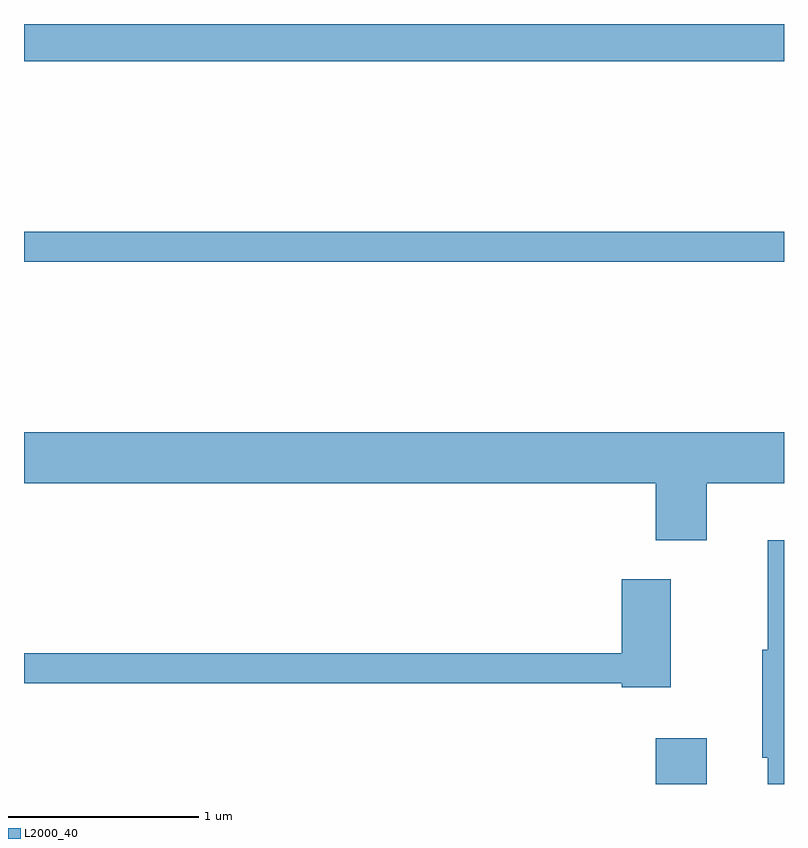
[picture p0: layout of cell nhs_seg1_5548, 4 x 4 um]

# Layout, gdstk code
import gdstk
lib = gdstk.Library(unit=1e-6, precision=1e-09)
def R(c, l, rs):  # rectangles x0, y0, x1, y1
    for r in rs: c.add(gdstk.rectangle(r[:2], r[2:], *l))
def P(c, l, *ps):  # polygons
    for p in ps: c.add(gdstk.Polygon(p, *l))
L2000_40 = (2000, 40)

nhs_seg1_5548 = lib.new_cell('nhs_seg1_5548')
R(nhs_seg1_5548, L2000_40, [(354.936,955.712,355.204,955.954), (351.611,958.461,355.611,958.619), (351.611,959.516,355.611,959.712)])
P(nhs_seg1_5548, L2000_40, [(355.204,957.296),(355.611,957.296),(355.611,957.564),(351.611,957.564),(351.611,957.296),(354.936,957.296),(354.936,956.996),(355.204,956.996)],
  [(355.611,956.994),(355.526,956.994),(355.526,956.419),(355.496,956.419),(355.496,955.851),(355.526,955.851),(355.526,955.712),(355.611,955.712)],
  [(355.014,956.789),(354.756,956.789),(354.756,956.399),(351.611,956.399),(351.611,956.241),(354.756,956.241),(354.756,956.221),(355.014,956.221)])

lib.write_gds('nhs_seg1_5548.gds')
